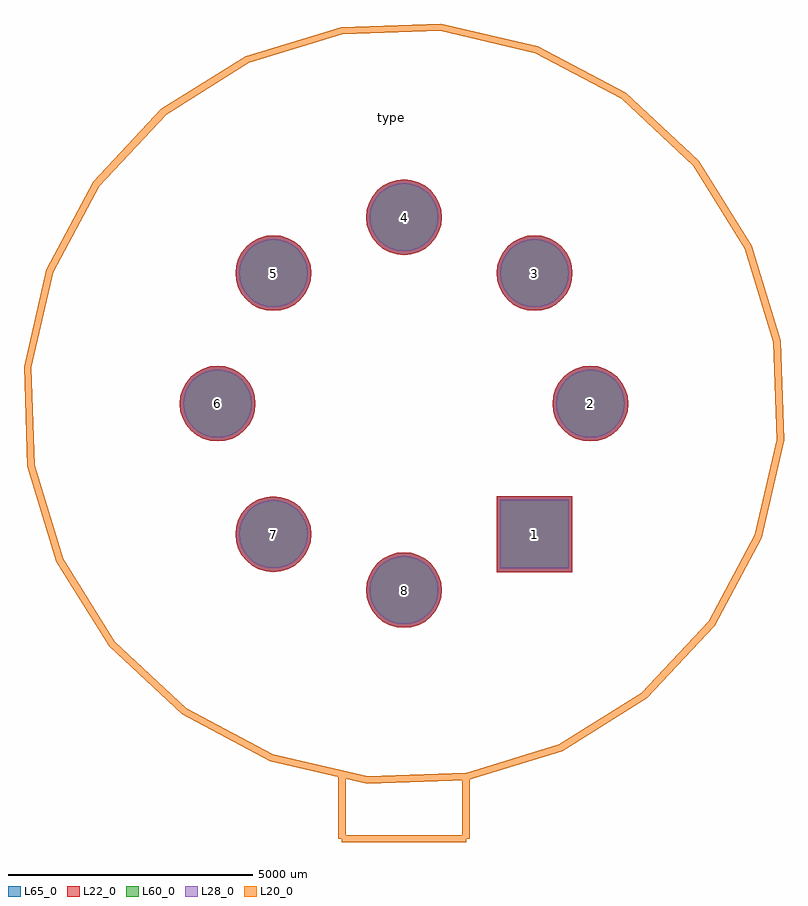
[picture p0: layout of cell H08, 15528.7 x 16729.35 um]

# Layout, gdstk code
import gdstk
lib = gdstk.Library(unit=1e-6, precision=1e-09)
def R(c, l, rs):  # rectangles x0, y0, x1, y1
    for r in rs: c.add(gdstk.rectangle(r[:2], r[2:], *l))
def P(c, l, *ps):  # polygons
    for p in ps: c.add(gdstk.Polygon(p, *l))
L20_0 = (20, 0)
L22_0 = (22, 0)
L28_0 = (28, 0)
L60_0 = (60, 0)
L65_0 = (65, 0)

h08 = lib.new_cell('H08')
R(h08, L22_0, [(1893.5,-3440.5,3440.5,-1893.5)])
P(h08, L22_0, [(773.5,-3810),(758.637,-3659.098),(714.621,-3513.994),(643.142,-3380.266),(546.947,-3263.053),(429.734,-3166.858),(296.006,-3095.379),(150.902,-3051.363),(0,-3036.5),(-150.902,-3051.363),(-296.006,-3095.379),(-429.734,-3166.858),(-546.947,-3263.053),(-643.142,-3380.266),(-714.621,-3513.994),(-758.637,-3659.098),(-773.5,-3810),(-758.637,-3960.902),(-714.621,-4106.006),(-643.142,-4239.734),(-546.947,-4356.947),(-429.734,-4453.142),(-296.006,-4524.621),(-150.902,-4568.637),(0,-4583.5),(150.902,-4568.637),(296.006,-4524.621),(429.734,-4453.142),(546.947,-4356.947),(643.142,-4239.734),(714.621,-4106.006),(758.637,-3960.902)],
  [(-1893.5,-2667),(-1908.363,-2516.098),(-1952.379,-2370.994),(-2023.858,-2237.266),(-2120.053,-2120.053),(-2237.266,-2023.858),(-2370.994,-1952.379),(-2516.098,-1908.363),(-2667,-1893.5),(-2817.902,-1908.363),(-2963.006,-1952.379),(-3096.734,-2023.858),(-3213.947,-2120.053),(-3310.142,-2237.266),(-3381.621,-2370.994),(-3425.637,-2516.098),(-3440.5,-2667),(-3425.637,-2817.902),(-3381.621,-2963.006),(-3310.142,-3096.734),(-3213.947,-3213.947),(-3096.734,-3310.142),(-2963.006,-3381.621),(-2817.902,-3425.637),(-2667,-3440.5),(-2516.098,-3425.637),(-2370.994,-3381.621),(-2237.266,-3310.142),(-2120.053,-3213.947),(-2023.858,-3096.734),(-1952.379,-2963.006),(-1908.363,-2817.902)],
  [(-3036.5,0),(-3051.363,150.902),(-3095.379,296.006),(-3166.858,429.734),(-3263.053,546.947),(-3380.266,643.142),(-3513.994,714.621),(-3659.098,758.637),(-3810,773.5),(-3960.902,758.637),(-4106.006,714.621),(-4239.734,643.142),(-4356.947,546.947),(-4453.142,429.734),(-4524.621,296.006),(-4568.637,150.902),(-4583.5,0),(-4568.637,-150.902),(-4524.621,-296.006),(-4453.142,-429.734),(-4356.947,-546.947),(-4239.734,-643.142),(-4106.006,-714.621),(-3960.902,-758.637),(-3810,-773.5),(-3659.098,-758.637),(-3513.994,-714.621),(-3380.266,-643.142),(-3263.053,-546.947),(-3166.858,-429.734),(-3095.379,-296.006),(-3051.363,-150.902)],
  [(-1893.5,2667),(-1908.363,2817.902),(-1952.379,2963.006),(-2023.858,3096.734),(-2120.053,3213.947),(-2237.266,3310.142),(-2370.994,3381.621),(-2516.098,3425.637),(-2667,3440.5),(-2817.902,3425.637),(-2963.006,3381.621),(-3096.734,3310.142),(-3213.947,3213.947),(-3310.142,3096.734),(-3381.621,2963.006),(-3425.637,2817.902),(-3440.5,2667),(-3425.637,2516.098),(-3381.621,2370.994),(-3310.142,2237.266),(-3213.947,2120.053),(-3096.734,2023.858),(-2963.006,1952.379),(-2817.902,1908.363),(-2667,1893.5),(-2516.098,1908.363),(-2370.994,1952.379),(-2237.266,2023.858),(-2120.053,2120.053),(-2023.858,2237.266),(-1952.379,2370.994),(-1908.363,2516.098)],
  [(773.5,3810),(758.637,3960.902),(714.621,4106.006),(643.142,4239.734),(546.947,4356.947),(429.734,4453.142),(296.006,4524.621),(150.902,4568.637),(0,4583.5),(-150.902,4568.637),(-296.006,4524.621),(-429.734,4453.142),(-546.947,4356.947),(-643.142,4239.734),(-714.621,4106.006),(-758.637,3960.902),(-773.5,3810),(-758.637,3659.098),(-714.621,3513.994),(-643.142,3380.266),(-546.947,3263.053),(-429.734,3166.858),(-296.006,3095.379),(-150.902,3051.363),(0,3036.5),(150.902,3051.363),(296.006,3095.379),(429.734,3166.858),(546.947,3263.053),(643.142,3380.266),(714.621,3513.994),(758.637,3659.098)],
  [(3440.5,2667),(3425.637,2817.902),(3381.621,2963.006),(3310.142,3096.734),(3213.947,3213.947),(3096.734,3310.142),(2963.006,3381.621),(2817.902,3425.637),(2667,3440.5),(2516.098,3425.637),(2370.994,3381.621),(2237.266,3310.142),(2120.053,3213.947),(2023.858,3096.734),(1952.379,2963.006),(1908.363,2817.902),(1893.5,2667),(1908.363,2516.098),(1952.379,2370.994),(2023.858,2237.266),(2120.053,2120.053),(2237.266,2023.858),(2370.994,1952.379),(2516.098,1908.363),(2667,1893.5),(2817.902,1908.363),(2963.006,1952.379),(3096.734,2023.858),(3213.947,2120.053),(3310.142,2237.266),(3381.621,2370.994),(3425.637,2516.098)],
  [(4583.5,0),(4568.637,150.902),(4524.621,296.006),(4453.142,429.734),(4356.947,546.947),(4239.734,643.142),(4106.006,714.621),(3960.902,758.637),(3810,773.5),(3659.098,758.637),(3513.994,714.621),(3380.266,643.142),(3263.053,546.947),(3166.858,429.734),(3095.379,296.006),(3051.363,150.902),(3036.5,0),(3051.363,-150.902),(3095.379,-296.006),(3166.858,-429.734),(3263.053,-546.947),(3380.266,-643.142),(3513.994,-714.621),(3659.098,-758.637),(3810,-773.5),(3960.902,-758.637),(4106.006,-714.621),(4239.734,-643.142),(4356.947,-546.947),(4453.142,-429.734),(4524.621,-296.006),(4568.637,-150.902)])
R(h08, L28_0, [(1968.5,-3365.5,3365.5,-1968.5)])
P(h08, L28_0, [(698.5,-3810),(685.079,-3673.729),(645.33,-3542.696),(580.782,-3421.934),(493.914,-3316.086),(388.066,-3229.218),(267.304,-3164.67),(136.271,-3124.921),(0,-3111.5),(-136.271,-3124.921),(-267.304,-3164.67),(-388.066,-3229.218),(-493.914,-3316.086),(-580.782,-3421.934),(-645.33,-3542.696),(-685.079,-3673.729),(-698.5,-3810),(-685.079,-3946.271),(-645.33,-4077.304),(-580.782,-4198.066),(-493.914,-4303.914),(-388.066,-4390.782),(-267.304,-4455.33),(-136.271,-4495.079),(0,-4508.5),(136.271,-4495.079),(267.304,-4455.33),(388.066,-4390.782),(493.914,-4303.914),(580.782,-4198.066),(645.33,-4077.304),(685.079,-3946.271)],
  [(-1968.5,-2667),(-1981.921,-2530.729),(-2021.67,-2399.696),(-2086.218,-2278.934),(-2173.086,-2173.086),(-2278.934,-2086.218),(-2399.696,-2021.67),(-2530.729,-1981.921),(-2667,-1968.5),(-2803.271,-1981.921),(-2934.304,-2021.67),(-3055.066,-2086.218),(-3160.914,-2173.086),(-3247.782,-2278.934),(-3312.33,-2399.696),(-3352.079,-2530.729),(-3365.5,-2667),(-3352.079,-2803.271),(-3312.33,-2934.304),(-3247.782,-3055.066),(-3160.914,-3160.914),(-3055.066,-3247.782),(-2934.304,-3312.33),(-2803.271,-3352.079),(-2667,-3365.5),(-2530.729,-3352.079),(-2399.696,-3312.33),(-2278.934,-3247.782),(-2173.086,-3160.914),(-2086.218,-3055.066),(-2021.67,-2934.304),(-1981.921,-2803.271)],
  [(-3111.5,0),(-3124.921,136.271),(-3164.67,267.304),(-3229.218,388.066),(-3316.086,493.914),(-3421.934,580.782),(-3542.696,645.33),(-3673.729,685.079),(-3810,698.5),(-3946.271,685.079),(-4077.304,645.33),(-4198.066,580.782),(-4303.914,493.914),(-4390.782,388.066),(-4455.33,267.304),(-4495.079,136.271),(-4508.5,0),(-4495.079,-136.271),(-4455.33,-267.304),(-4390.782,-388.066),(-4303.914,-493.914),(-4198.066,-580.782),(-4077.304,-645.33),(-3946.271,-685.079),(-3810,-698.5),(-3673.729,-685.079),(-3542.696,-645.33),(-3421.934,-580.782),(-3316.086,-493.914),(-3229.218,-388.066),(-3164.67,-267.304),(-3124.921,-136.271)],
  [(-1968.5,2667),(-1981.921,2803.271),(-2021.67,2934.304),(-2086.218,3055.066),(-2173.086,3160.914),(-2278.934,3247.782),(-2399.696,3312.33),(-2530.729,3352.079),(-2667,3365.5),(-2803.271,3352.079),(-2934.304,3312.33),(-3055.066,3247.782),(-3160.914,3160.914),(-3247.782,3055.066),(-3312.33,2934.304),(-3352.079,2803.271),(-3365.5,2667),(-3352.079,2530.729),(-3312.33,2399.696),(-3247.782,2278.934),(-3160.914,2173.086),(-3055.066,2086.218),(-2934.304,2021.67),(-2803.271,1981.921),(-2667,1968.5),(-2530.729,1981.921),(-2399.696,2021.67),(-2278.934,2086.218),(-2173.086,2173.086),(-2086.218,2278.934),(-2021.67,2399.696),(-1981.921,2530.729)],
  [(698.5,3810),(685.079,3946.271),(645.33,4077.304),(580.782,4198.066),(493.914,4303.914),(388.066,4390.782),(267.304,4455.33),(136.271,4495.079),(0,4508.5),(-136.271,4495.079),(-267.304,4455.33),(-388.066,4390.782),(-493.914,4303.914),(-580.782,4198.066),(-645.33,4077.304),(-685.079,3946.271),(-698.5,3810),(-685.079,3673.729),(-645.33,3542.696),(-580.782,3421.934),(-493.914,3316.086),(-388.066,3229.218),(-267.304,3164.67),(-136.271,3124.921),(0,3111.5),(136.271,3124.921),(267.304,3164.67),(388.066,3229.218),(493.914,3316.086),(580.782,3421.934),(645.33,3542.696),(685.079,3673.729)],
  [(3365.5,2667),(3352.079,2803.271),(3312.33,2934.304),(3247.782,3055.066),(3160.914,3160.914),(3055.066,3247.782),(2934.304,3312.33),(2803.271,3352.079),(2667,3365.5),(2530.729,3352.079),(2399.696,3312.33),(2278.934,3247.782),(2173.086,3160.914),(2086.218,3055.066),(2021.67,2934.304),(1981.921,2803.271),(1968.5,2667),(1981.921,2530.729),(2021.67,2399.696),(2086.218,2278.934),(2173.086,2173.086),(2278.934,2086.218),(2399.696,2021.67),(2530.729,1981.921),(2667,1968.5),(2803.271,1981.921),(2934.304,2021.67),(3055.066,2086.218),(3160.914,2173.086),(3247.782,2278.934),(3312.33,2399.696),(3352.079,2530.729)],
  [(4508.5,0),(4495.079,136.271),(4455.33,267.304),(4390.782,388.066),(4303.914,493.914),(4198.066,580.782),(4077.304,645.33),(3946.271,685.079),(3810,698.5),(3673.729,685.079),(3542.696,645.33),(3421.934,580.782),(3316.086,493.914),(3229.218,388.066),(3164.67,267.304),(3124.921,136.271),(3111.5,0),(3124.921,-136.271),(3164.67,-267.304),(3229.218,-388.066),(3316.086,-493.914),(3421.934,-580.782),(3542.696,-645.33),(3673.729,-685.079),(3810,-698.5),(3946.271,-685.079),(4077.304,-645.33),(4198.066,-580.782),(4303.914,-493.914),(4390.782,-388.066),(4455.33,-267.304),(4495.079,-136.271)])
R(h08, L60_0, [(1968.5,-3365.5,3365.5,-1968.5)])
P(h08, L60_0, [(698.5,-3810),(685.079,-3673.729),(645.33,-3542.696),(580.782,-3421.934),(493.914,-3316.086),(388.066,-3229.218),(267.304,-3164.67),(136.271,-3124.921),(0,-3111.5),(-136.271,-3124.921),(-267.304,-3164.67),(-388.066,-3229.218),(-493.914,-3316.086),(-580.782,-3421.934),(-645.33,-3542.696),(-685.079,-3673.729),(-698.5,-3810),(-685.079,-3946.271),(-645.33,-4077.304),(-580.782,-4198.066),(-493.914,-4303.914),(-388.066,-4390.782),(-267.304,-4455.33),(-136.271,-4495.079),(0,-4508.5),(136.271,-4495.079),(267.304,-4455.33),(388.066,-4390.782),(493.914,-4303.914),(580.782,-4198.066),(645.33,-4077.304),(685.079,-3946.271)],
  [(-1968.5,-2667),(-1981.921,-2530.729),(-2021.67,-2399.696),(-2086.218,-2278.934),(-2173.086,-2173.086),(-2278.934,-2086.218),(-2399.696,-2021.67),(-2530.729,-1981.921),(-2667,-1968.5),(-2803.271,-1981.921),(-2934.304,-2021.67),(-3055.066,-2086.218),(-3160.914,-2173.086),(-3247.782,-2278.934),(-3312.33,-2399.696),(-3352.079,-2530.729),(-3365.5,-2667),(-3352.079,-2803.271),(-3312.33,-2934.304),(-3247.782,-3055.066),(-3160.914,-3160.914),(-3055.066,-3247.782),(-2934.304,-3312.33),(-2803.271,-3352.079),(-2667,-3365.5),(-2530.729,-3352.079),(-2399.696,-3312.33),(-2278.934,-3247.782),(-2173.086,-3160.914),(-2086.218,-3055.066),(-2021.67,-2934.304),(-1981.921,-2803.271)],
  [(-3111.5,0),(-3124.921,136.271),(-3164.67,267.304),(-3229.218,388.066),(-3316.086,493.914),(-3421.934,580.782),(-3542.696,645.33),(-3673.729,685.079),(-3810,698.5),(-3946.271,685.079),(-4077.304,645.33),(-4198.066,580.782),(-4303.914,493.914),(-4390.782,388.066),(-4455.33,267.304),(-4495.079,136.271),(-4508.5,0),(-4495.079,-136.271),(-4455.33,-267.304),(-4390.782,-388.066),(-4303.914,-493.914),(-4198.066,-580.782),(-4077.304,-645.33),(-3946.271,-685.079),(-3810,-698.5),(-3673.729,-685.079),(-3542.696,-645.33),(-3421.934,-580.782),(-3316.086,-493.914),(-3229.218,-388.066),(-3164.67,-267.304),(-3124.921,-136.271)],
  [(-1968.5,2667),(-1981.921,2803.271),(-2021.67,2934.304),(-2086.218,3055.066),(-2173.086,3160.914),(-2278.934,3247.782),(-2399.696,3312.33),(-2530.729,3352.079),(-2667,3365.5),(-2803.271,3352.079),(-2934.304,3312.33),(-3055.066,3247.782),(-3160.914,3160.914),(-3247.782,3055.066),(-3312.33,2934.304),(-3352.079,2803.271),(-3365.5,2667),(-3352.079,2530.729),(-3312.33,2399.696),(-3247.782,2278.934),(-3160.914,2173.086),(-3055.066,2086.218),(-2934.304,2021.67),(-2803.271,1981.921),(-2667,1968.5),(-2530.729,1981.921),(-2399.696,2021.67),(-2278.934,2086.218),(-2173.086,2173.086),(-2086.218,2278.934),(-2021.67,2399.696),(-1981.921,2530.729)],
  [(698.5,3810),(685.079,3946.271),(645.33,4077.304),(580.782,4198.066),(493.914,4303.914),(388.066,4390.782),(267.304,4455.33),(136.271,4495.079),(0,4508.5),(-136.271,4495.079),(-267.304,4455.33),(-388.066,4390.782),(-493.914,4303.914),(-580.782,4198.066),(-645.33,4077.304),(-685.079,3946.271),(-698.5,3810),(-685.079,3673.729),(-645.33,3542.696),(-580.782,3421.934),(-493.914,3316.086),(-388.066,3229.218),(-267.304,3164.67),(-136.271,3124.921),(0,3111.5),(136.271,3124.921),(267.304,3164.67),(388.066,3229.218),(493.914,3316.086),(580.782,3421.934),(645.33,3542.696),(685.079,3673.729)],
  [(3365.5,2667),(3352.079,2803.271),(3312.33,2934.304),(3247.782,3055.066),(3160.914,3160.914),(3055.066,3247.782),(2934.304,3312.33),(2803.271,3352.079),(2667,3365.5),(2530.729,3352.079),(2399.696,3312.33),(2278.934,3247.782),(2173.086,3160.914),(2086.218,3055.066),(2021.67,2934.304),(1981.921,2803.271),(1968.5,2667),(1981.921,2530.729),(2021.67,2399.696),(2086.218,2278.934),(2173.086,2173.086),(2278.934,2086.218),(2399.696,2021.67),(2530.729,1981.921),(2667,1968.5),(2803.271,1981.921),(2934.304,2021.67),(3055.066,2086.218),(3160.914,2173.086),(3247.782,2278.934),(3312.33,2399.696),(3352.079,2530.729)],
  [(4508.5,0),(4495.079,136.271),(4455.33,267.304),(4390.782,388.066),(4303.914,493.914),(4198.066,580.782),(4077.304,645.33),(3946.271,685.079),(3810,698.5),(3673.729,685.079),(3542.696,645.33),(3421.934,580.782),(3316.086,493.914),(3229.218,388.066),(3164.67,267.304),(3124.921,136.271),(3111.5,0),(3124.921,-136.271),(3164.67,-267.304),(3229.218,-388.066),(3316.086,-493.914),(3421.934,-580.782),(3542.696,-645.33),(3673.729,-685.079),(3810,-698.5),(3946.271,-685.079),(4077.304,-645.33),(4198.066,-580.782),(4303.914,-493.914),(4390.782,-388.066),(4455.33,-267.304),(4495.079,-136.271)])
R(h08, L65_0, [(1893.5,-3440.5,3440.5,-1893.5)])
P(h08, L65_0, [(773.5,-3810),(758.637,-3659.098),(714.621,-3513.994),(643.142,-3380.266),(546.947,-3263.053),(429.734,-3166.858),(296.006,-3095.379),(150.902,-3051.363),(0,-3036.5),(-150.902,-3051.363),(-296.006,-3095.379),(-429.734,-3166.858),(-546.947,-3263.053),(-643.142,-3380.266),(-714.621,-3513.994),(-758.637,-3659.098),(-773.5,-3810),(-758.637,-3960.902),(-714.621,-4106.006),(-643.142,-4239.734),(-546.947,-4356.947),(-429.734,-4453.142),(-296.006,-4524.621),(-150.902,-4568.637),(0,-4583.5),(150.902,-4568.637),(296.006,-4524.621),(429.734,-4453.142),(546.947,-4356.947),(643.142,-4239.734),(714.621,-4106.006),(758.637,-3960.902)],
  [(-1893.5,-2667),(-1908.363,-2516.098),(-1952.379,-2370.994),(-2023.858,-2237.266),(-2120.053,-2120.053),(-2237.266,-2023.858),(-2370.994,-1952.379),(-2516.098,-1908.363),(-2667,-1893.5),(-2817.902,-1908.363),(-2963.006,-1952.379),(-3096.734,-2023.858),(-3213.947,-2120.053),(-3310.142,-2237.266),(-3381.621,-2370.994),(-3425.637,-2516.098),(-3440.5,-2667),(-3425.637,-2817.902),(-3381.621,-2963.006),(-3310.142,-3096.734),(-3213.947,-3213.947),(-3096.734,-3310.142),(-2963.006,-3381.621),(-2817.902,-3425.637),(-2667,-3440.5),(-2516.098,-3425.637),(-2370.994,-3381.621),(-2237.266,-3310.142),(-2120.053,-3213.947),(-2023.858,-3096.734),(-1952.379,-2963.006),(-1908.363,-2817.902)],
  [(-3036.5,0),(-3051.363,150.902),(-3095.379,296.006),(-3166.858,429.734),(-3263.053,546.947),(-3380.266,643.142),(-3513.994,714.621),(-3659.098,758.637),(-3810,773.5),(-3960.902,758.637),(-4106.006,714.621),(-4239.734,643.142),(-4356.947,546.947),(-4453.142,429.734),(-4524.621,296.006),(-4568.637,150.902),(-4583.5,0),(-4568.637,-150.902),(-4524.621,-296.006),(-4453.142,-429.734),(-4356.947,-546.947),(-4239.734,-643.142),(-4106.006,-714.621),(-3960.902,-758.637),(-3810,-773.5),(-3659.098,-758.637),(-3513.994,-714.621),(-3380.266,-643.142),(-3263.053,-546.947),(-3166.858,-429.734),(-3095.379,-296.006),(-3051.363,-150.902)],
  [(-1893.5,2667),(-1908.363,2817.902),(-1952.379,2963.006),(-2023.858,3096.734),(-2120.053,3213.947),(-2237.266,3310.142),(-2370.994,3381.621),(-2516.098,3425.637),(-2667,3440.5),(-2817.902,3425.637),(-2963.006,3381.621),(-3096.734,3310.142),(-3213.947,3213.947),(-3310.142,3096.734),(-3381.621,2963.006),(-3425.637,2817.902),(-3440.5,2667),(-3425.637,2516.098),(-3381.621,2370.994),(-3310.142,2237.266),(-3213.947,2120.053),(-3096.734,2023.858),(-2963.006,1952.379),(-2817.902,1908.363),(-2667,1893.5),(-2516.098,1908.363),(-2370.994,1952.379),(-2237.266,2023.858),(-2120.053,2120.053),(-2023.858,2237.266),(-1952.379,2370.994),(-1908.363,2516.098)],
  [(773.5,3810),(758.637,3960.902),(714.621,4106.006),(643.142,4239.734),(546.947,4356.947),(429.734,4453.142),(296.006,4524.621),(150.902,4568.637),(0,4583.5),(-150.902,4568.637),(-296.006,4524.621),(-429.734,4453.142),(-546.947,4356.947),(-643.142,4239.734),(-714.621,4106.006),(-758.637,3960.902),(-773.5,3810),(-758.637,3659.098),(-714.621,3513.994),(-643.142,3380.266),(-546.947,3263.053),(-429.734,3166.858),(-296.006,3095.379),(-150.902,3051.363),(0,3036.5),(150.902,3051.363),(296.006,3095.379),(429.734,3166.858),(546.947,3263.053),(643.142,3380.266),(714.621,3513.994),(758.637,3659.098)],
  [(3440.5,2667),(3425.637,2817.902),(3381.621,2963.006),(3310.142,3096.734),(3213.947,3213.947),(3096.734,3310.142),(2963.006,3381.621),(2817.902,3425.637),(2667,3440.5),(2516.098,3425.637),(2370.994,3381.621),(2237.266,3310.142),(2120.053,3213.947),(2023.858,3096.734),(1952.379,2963.006),(1908.363,2817.902),(1893.5,2667),(1908.363,2516.098),(1952.379,2370.994),(2023.858,2237.266),(2120.053,2120.053),(2237.266,2023.858),(2370.994,1952.379),(2516.098,1908.363),(2667,1893.5),(2817.902,1908.363),(2963.006,1952.379),(3096.734,2023.858),(3213.947,2120.053),(3310.142,2237.266),(3381.621,2370.994),(3425.637,2516.098)],
  [(4583.5,0),(4568.637,150.902),(4524.621,296.006),(4453.142,429.734),(4356.947,546.947),(4239.734,643.142),(4106.006,714.621),(3960.902,758.637),(3810,773.5),(3659.098,758.637),(3513.994,714.621),(3380.266,643.142),(3263.053,546.947),(3166.858,429.734),(3095.379,296.006),(3051.363,150.902),(3036.5,0),(3051.363,-150.902),(3095.379,-296.006),(3166.858,-429.734),(3263.053,-546.947),(3380.266,-643.142),(3513.994,-714.621),(3659.098,-758.637),(3810,-773.5),(3960.902,-758.637),(4106.006,-714.621),(4239.734,-643.142),(4356.947,-546.947),(4453.142,-429.734),(4524.621,-296.006),(4568.637,-150.902)])
h08.add(gdstk.FlexPath([(1270,-7620),(3198.927,-7031.655),(4909.852,-5964.114),(6286.179,-4490.128),(7234.114,-2710.148),(7689.055,-745.475),(7620,1270),(7031.655,3198.927),(5964.114,4909.852),(4490.128,6286.179),(2710.148,7234.114),(745.475,7689.055),(-1270,7620),(-3198.927,7031.655),(-4909.852,5964.114),(-6286.179,4490.128),(-7234.114,2710.148),(-7689.055,745.475),(-7620,-1270),(-7031.655,-3198.927),(-5964.114,-4909.852),(-4490.128,-6286.179),(-2710.148,-7234.114),(-745.475,-7689.055),(1270,-7620)], 149.998, ends="flush", simple_path=True, layer=20, datatype=0))  # L20_0
h08.add(gdstk.FlexPath([(1270,-8890),(1270,-7620)], 149.998, ends="flush", simple_path=True, layer=20, datatype=0))  # L20_0
h08.add(gdstk.FlexPath([(-1270,-8890),(1270,-8890)], 149.998, ends="flush", simple_path=True, layer=20, datatype=0))  # L20_0
h08.add(gdstk.FlexPath([(-1270,-7620),(-1270,-8890)], 149.998, ends="flush", simple_path=True, layer=20, datatype=0))  # L20_0
h08.add(gdstk.Label('8', (0,-3810), layer=28, texttype=0))
h08.add(gdstk.Label('7', (-2667,-2667), layer=28, texttype=0))
h08.add(gdstk.Label('6', (-3810,0), layer=28, texttype=0))
h08.add(gdstk.Label('5', (-2667,2667), layer=28, texttype=0))
h08.add(gdstk.Label('4', (0,3810), layer=28, texttype=0))
h08.add(gdstk.Label('3', (2667,2667), layer=28, texttype=0))
h08.add(gdstk.Label('2', (3810,0), layer=28, texttype=0))
h08.add(gdstk.Label('1', (2667,-2667), layer=28, texttype=0))
h08.add(gdstk.Label('type', (-254,5842), layer=9, texttype=0))
h08.add(gdstk.Label('devicename', (254,9398), layer=9, texttype=0))

lib.write_gds('H08.gds')
